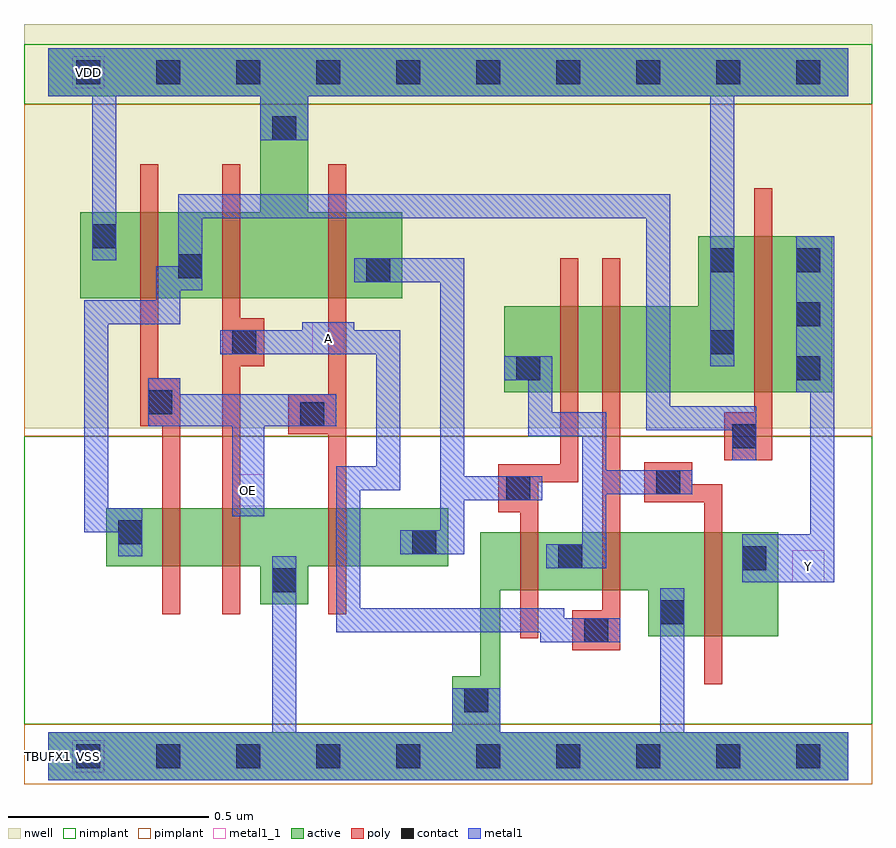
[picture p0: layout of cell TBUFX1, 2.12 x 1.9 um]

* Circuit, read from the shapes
.subckt TBUFX1 A OE VDD VSS Y
M1 n1 OE n2 VSS nfet w=0.145u l=0.045u
M2 VSS A n1 VSS nfet w=0.145u l=0.045u
M3 n3 OE VSS VSS nfet w=0.145u l=0.045u
M4 n4 n3 VSS VSS nfet w=0.145u l=0.045u
M5 VSS A n4 VSS nfet w=0.145u l=0.045u
M6 Y n4 VSS VSS nfet w=0.26u l=0.045u
M7 n2 OE VDD VDD pfet w=0.215u l=0.045u
M8 VDD A n2 VDD pfet w=0.215u l=0.045u
M9 n3 OE VDD VDD pfet w=0.215u l=0.045u
M10 n5 n3 n4 VDD pfet w=0.215u l=0.045u
M11 VDD A n5 VDD pfet w=0.215u l=0.045u
M12 Y n2 VDD VDD pfet w=0.39u l=0.045u
.ends

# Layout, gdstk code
import gdstk
lib = gdstk.Library(unit=1e-6, precision=5e-10)
def R(c, l, rs):  # rectangles x0, y0, x1, y1
    for r in rs: c.add(gdstk.rectangle(r[:2], r[2:], *l))
def A(c, l, x, y, w, h, nx, ny, dx, dy):  # array of equal rectangles
    R(c, l, [(x+i*dx, y+j*dy, x+i*dx+w, y+j*dy+h) for i in range(nx) for j in range(ny)])
def P(c, l, *ps):  # polygons
    for p in ps: c.add(gdstk.Polygon(p, *l))
active = (1, 0)
nwell = (2, 0)
poly = (3, 0)
nimplant = (4, 0)
pimplant = (5, 0)
contact = (6, 0)
metal1 = (7, 0)
metal1_1 = (7, 1)

tbufx1 = lib.new_cell('TBUFX1')
P(tbufx1, active, [(0,1.77),(2,1.77),(2,1.65),(0.65,1.65),(0.65,1.36),(0.885,1.36),(0.885,1.145),(0.08,1.145),(0.08,1.36),(0.53,1.36),(0.53,1.65),(0,1.65)],
  [(1.625,1.3),(1.96,1.3),(1.96,0.91),(1.14,0.91),(1.14,1.125),(1.625,1.125)],
  [(1.08,0.56),(1.825,0.56),(1.825,0.3),(1.5,0.3),(1.5,0.415),(1.13,0.415),(1.13,0.06),(2,0.06),(2,-0.06),(0,-0.06),(0,0.06),(1.01,0.06),(1.01,0.2),(1.08,0.2)],
  [(0.145,0.62),(1,0.62),(1,0.475),(0.65,0.475),(0.65,0.38),(0.53,0.38),(0.53,0.475),(0.145,0.475)])
R(tbufx1, nwell, [(-0.06,0.82,2.06,1.83)])
P(tbufx1, poly, [(0.23,1.48),(0.275,1.48),(0.275,0.945),(0.33,0.945),(0.33,0.355),(0.285,0.355),(0.285,0.825),(0.23,0.825)],
  [(0.435,1.48),(0.48,1.48),(0.48,1.095),(0.54,1.095),(0.54,0.975),(0.48,0.975),(0.48,0.355),(0.435,0.355)],
  [(0.7,1.48),(0.745,1.48),(0.745,0.355),(0.7,0.355),(0.7,0.805),(0.6,0.805),(0.6,0.905),(0.7,0.905)],
  [(1.765,1.42),(1.81,1.42),(1.81,0.74),(1.69,0.74),(1.69,0.86),(1.765,0.86)],
  [(1.28,1.245),(1.325,1.245),(1.325,0.685),(1.225,0.685),(1.225,0.295),(1.18,0.295),(1.18,0.61),(1.125,0.61),(1.125,0.73),(1.28,0.73)],
  [(1.385,1.245),(1.43,1.245),(1.43,0.265),(1.31,0.265),(1.31,0.365),(1.385,0.365)],
  [(1.49,0.735),(1.61,0.735),(1.61,0.68),(1.685,0.68),(1.685,0.18),(1.64,0.18),(1.64,0.635),(1.49,0.635)])
R(tbufx1, nimplant, [(-0.06,0.08,2.06,0.8), (-0.06,1.63,2.06,1.78)])
R(tbufx1, pimplant, [(-0.06,-0.07,2.06,0.08), (-0.06,0.8,2.06,1.63)])
A(tbufx1, contact, 0.07, -0.03, 0.06, 0.06, 10, 2, 0.2, 1.71)
A(tbufx1, contact, 1.87, 0.94, 0.06, 0.06, 1, 3, 0, 0.135)
R(tbufx1, contact, [(1.04,0.11,1.1,0.17), (1.34,0.285,1.4,0.345), (1.53,0.33,1.59,0.39), (0.56,0.41,0.62,0.47), (1.735,0.465,1.795,0.525), (1.275,0.47,1.335,0.53), (0.91,0.505,0.97,0.565), (0.175,0.53,0.235,0.59), (1.145,0.64,1.205,0.7), (1.52,0.655,1.58,0.715), (1.71,0.77,1.77,0.83), (0.63,0.825,0.69,0.885), (0.25,0.855,0.31,0.915), (1.17,0.94,1.23,1), (0.46,1.005,0.52,1.065), (1.655,1.005,1.715,1.065), (0.795,1.185,0.855,1.245), (0.325,1.195,0.385,1.255), (1.655,1.21,1.715,1.27), (0.11,1.27,0.17,1.33), (0.56,1.54,0.62,1.6)])
P(tbufx1, metal1, [(0,1.77),(2,1.77),(2,1.65),(1.715,1.65),(1.715,0.975),(1.655,0.975),(1.655,1.65),(0.65,1.65),(0.65,1.54),(0.53,1.54),(0.53,1.65),(0.17,1.65),(0.17,1.24),(0.11,1.24),(0.11,1.65),(0,1.65)],
  [(0.325,1.405),(1.555,1.405),(1.555,0.875),(1.77,0.875),(1.77,0.74),(1.71,0.74),(1.71,0.815),(1.495,0.815),(1.495,1.345),(0.385,1.345),(0.385,1.165),(0.33,1.165),(0.33,1.08),(0.15,1.08),(0.15,0.62),(0.235,0.62),(0.235,0.5),(0.175,0.5),(0.175,0.56),(0.09,0.56),(0.09,1.14),(0.27,1.14),(0.27,1.225),(0.325,1.225)],
  [(0.765,1.245),(1.04,1.245),(1.04,0.7),(1.235,0.7),(1.235,0.64),(1.04,0.64),(1.04,0.505),(0.88,0.505),(0.88,0.565),(0.98,0.565),(0.98,1.185),(0.765,1.185)],
  [(0.635,1.085),(0.765,1.085),(0.765,1.065),(0.88,1.065),(0.88,0.665),(0.78,0.665),(0.78,0.37),(1.29,0.37),(1.29,0.345),(1.43,0.345),(1.43,0.285),(1.23,0.285),(1.23,0.31),(0.72,0.31),(0.72,0.725),(0.82,0.725),(0.82,1.005),(0.43,1.005),(0.43,1.065),(0.635,1.065)],
  [(0.25,0.945),(0.33,0.945),(0.33,0.905),(0.72,0.905),(0.72,0.825),(0.54,0.825),(0.54,0.6),(0.46,0.6),(0.46,0.825),(0.25,0.825)],
  [(1.14,1),(1.26,1),(1.26,0.86),(1.395,0.86),(1.395,0.715),(1.61,0.715),(1.61,0.655),(1.395,0.655),(1.395,0.47),(1.245,0.47),(1.245,0.53),(1.335,0.53),(1.335,0.8),(1.2,0.8),(1.2,0.94),(1.14,0.94)],
  [(1.87,1.3),(1.965,1.3),(1.965,0.435),(1.735,0.435),(1.735,0.555),(1.905,0.555),(1.905,0.91),(1.87,0.91)],
  [(0.56,0.5),(0.62,0.5),(0.62,0.06),(1.01,0.06),(1.01,0.17),(1.13,0.17),(1.13,0.06),(1.53,0.06),(1.53,0.42),(1.59,0.42),(1.59,0.06),(2,0.06),(2,-0.06),(0,-0.06),(0,0.06),(0.56,0.06)])
R(tbufx1, metal1_1, [(0.06,-0.04,0.14,0.04), (1.86,0.435,1.94,0.515), (0.46,0.625,0.54,0.705), (0.66,1.005,0.74,1.085), (0.06,1.67,0.14,1.75)])
tbufx1.add(gdstk.Label('Y', (1.9,0.475), layer=7, texttype=1))
tbufx1.add(gdstk.Label('A', (0.7,1.045), layer=7, texttype=1))
tbufx1.add(gdstk.Label('OE', (0.5,0.665), layer=7, texttype=1))
tbufx1.add(gdstk.Label('VDD', (0.1,1.71), layer=7, texttype=1))
tbufx1.add(gdstk.Label('VSS', (0.1,0), layer=7, texttype=1))
tbufx1.add(gdstk.Label('TBUFX1', (0,0), layer=63, texttype=0))

lib.write_gds('TBUFX1.gds')
